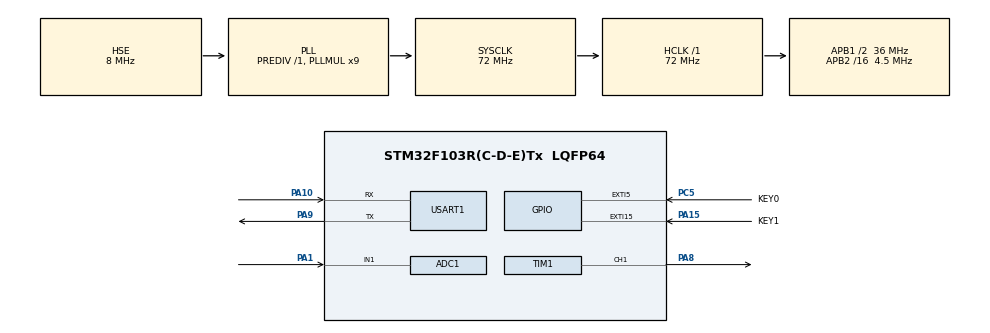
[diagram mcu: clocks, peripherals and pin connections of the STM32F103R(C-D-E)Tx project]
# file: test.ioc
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ADC1.Channel-0\#ChannelRegularConversion=ADC_CHANNEL_1
ADC1.NbrOfConversionFlag=1
ADC1.Rank-0\#ChannelRegularConversion=1
ADC1.SamplingTime-0\#ChannelRegularConversion=ADC_SAMPLETIME_1CYCLE_5
ADC1.master=1
Mcu.Family=STM32F1
Mcu.Name=STM32F103R(C-D-E)Tx
Mcu.Package=LQFP64
NVIC.EXTI9_5_IRQn=true\:1\:1\:true\:false\:true\:true\:true
NVIC.PriorityGroup=NVIC_PRIORITYGROUP_2
NVIC.TIM1_UP_IRQn=true\:0\:0\:false\:false\:true\:true\:true
NVIC.USART1_IRQn=true\:0\:0\:false\:false\:true\:true\:true
NVIC.WWDG_IRQn=true\:0\:0\:false\:false\:true\:true\:true
PA1.Signal=ADCx_IN1
PA10.Mode=Asynchronous
PA10.Signal=USART1_RX
PA13.Mode=Serial_Wire
PA13.Signal=SYS_JTMS-SWDIO
PA14.Mode=Serial_Wire
PA14.Signal=SYS_JTCK-SWCLK
PA15.GPIO_Label=KEY1
PA15.GPIO_PuPd=GPIO_PULLUP
PA15.Signal=GPXTI15
PA8.Signal=S_TIM1_CH1
PA9.Mode=Asynchronous
PA9.Signal=USART1_TX
PC5.GPIO_Label=KEY0
PC5.GPIO_ModeDefaultEXTI=GPIO_MODE_IT_FALLING
PC5.GPIO_PuPd=GPIO_PULLUP
PC5.Signal=GPXTI5
PD0-OSC_IN.Mode=HSE-External-Oscillator
PD0-OSC_IN.Signal=RCC_OSC_IN
PD1-OSC_OUT.Mode=HSE-External-Oscillator
PD1-OSC_OUT.Signal=RCC_OSC_OUT
ProjectManager.HeapSize=0x200
ProjectManager.StackSize=0x400
ProjectManager.TargetToolchain=SW4STM32
RCC.ADCPresc=RCC_ADCPCLK2_DIV6
RCC.AHBFreq_Value=72000000
RCC.APB1CLKDivider=RCC_HCLK_DIV2
RCC.APB1Freq_Value=36000000
RCC.APB1TimFreq_Value=72000000
RCC.APB2CLKDivider=RCC_HCLK_DIV16
RCC.APB2Freq_Value=4500000
RCC.APB2TimFreq_Value=9000000
RCC.HCLKFreq_Value=72000000
RCC.PLLMUL=RCC_PLL_MUL9
RCC.PLLSourceVirtual=RCC_PLLSOURCE_HSE
RCC.SYSCLKFreq_VALUE=72000000
RCC.SYSCLKSource=RCC_SYSCLKSOURCE_PLLCLK
RCC.USBFreq_Value=72000000
SH.ADCx_IN1.0=ADC1_IN1,IN1
SH.S_TIM1_CH1.0=TIM1_CH1,PWM Generation1 CH1
TIM1.Channel-PWM\ Generation1\ CH1=TIM_CHANNEL_1
TIM1.OC1Preload_PWM=ENABLE
TIM1.OCPolarity_1=TIM_OCPOLARITY_LOW
TIM1.Period=899
USART1.VirtualMode=VM_ASYNC
VP_WWDG_VS_WWDG.Mode=WWDG_Activate
WWDG.Counter=127
WWDG.EWIMode=WWDG_EWI_ENABLE
WWDG.Prescaler=WWDG_PRESCALER_8
WWDG.Window=95
board=custom

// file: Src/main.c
/* USER CODE BEGIN Header */
/**
  ******************************************************************************
  * @file           : main.c
  * @brief          : Main program body
  ******************************************************************************
  * @attention
  *
  * <h2><center>&copy; Copyright (c) 2019 STMicroelectronics.
  * All rights reserved.</center></h2>
  *
  * This software component is licensed by ST under BSD 3-Clause license,
  * the "License"; You may not use this file except in compliance with the
  * License. You may obtain a copy of the License at:
  *                        opensource.org/licenses/BSD-3-Clause
  *
  ******************************************************************************
  */
/* USER CODE END Header */

#include "main.h"
#include "adc.h"
#include "tim.h"
#include "usart.h"
#include "wwdg.h"
#include "gpio.h"
#include "string.h"
#include "stdio.h"

void SystemClock_Config(void);

/* USER CODE BEGIN 0 */

int flag = 0;

void HAL_WWDG_EarlyWakeupCallback(WWDG_HandleTypeDef *hwwdg) {
    char res[50];
    if (flag == 1) {
        HAL_WWDG_Refresh(hwwdg);
        sprintf(res, "Refresh!!\r\n");
        HAL_UART_Transmit(&huart1, (uint8_t *)res, strlen(res), HAL_MAX_DELAY);
    }
    flag = 0;
}
void HAL_GPIO_EXTI_Callback(uint16_t GPIO_Pin) {
    if (GPIO_Pin != KEY0_Pin)
        return;

    if (HAL_GPIO_ReadPin(KEY0_GPIO_Port, KEY0_Pin) == GPIO_PIN_RESET) {
        flag = 1;
    }
}
/* USER CODE END 0 */

int main(void) {
    /* USER CODE BEGIN 1 */
    uint16_t raw;
    char msg[20];
    /* USER CODE END 1 */

    /* MCU Configuration--------------------------------------------------------*/

    /* Reset of all peripherals, Initializes the Flash interface and the Systick. */
    HAL_Init();

    /* Configure the system clock */
    SystemClock_Config();

    /* Initialize all configured peripherals */
    MX_GPIO_Init();
    MX_USART1_UART_Init();
    MX_ADC1_Init();
    MX_TIM1_Init();
    MX_WWDG_Init();

    /* Infinite loop */
    /* USER CODE BEGIN WHILE */

    int i = 0;
    while (1) {
        HAL_ADC_Start(&hadc1);
// Wait for regular group conversion to be completed
        HAL_ADC_PollForConversion(&hadc1, HAL_MAX_DELAY);
// Get ADC value
        raw = HAL_ADC_GetValue(&hadc1); // the voltage should be raw * (3.3/4096)(12
// Convert to string and print
        float value = (1.43 - raw * (3.3 / 4096)) / 4.3 + 25;

        int tmp, tmp1, tmp2, tmp3, tmp4, tmp5, tmp6;
        tmp = (int) value;
        tmp1 = (int) ((value - tmp) * 10) % 10;
        tmp2 = (int) ((value - tmp) * 100) % 10;
        tmp3 = (int) ((value - tmp) * 1000) % 10;
        tmp4 = (int) ((value - tmp) * 10000) % 10;
        tmp5 = (int) ((value - tmp) * 100000) % 10;
        tmp6 = (int) ((value - tmp) * 1000000) % 10;
        i ++;
        sprintf(msg, "%d %d.%d%d%d%d%d%d\r\n", i, tmp, tmp1, tmp2, tmp3, tmp4, tmp5, tmp6);
//        sprintf(msg, "%d\r\n", i);
        HAL_UART_Transmit(&huart1, (uint8_t *) msg, strlen(msg), HAL_MAX_DELAY);
        HAL_Delay(2);
    }
    /* USER CODE END 3 */
}

void SystemClock_Config(void) {
    RCC_OscInitTypeDef RCC_OscInitStruct = {0};
    RCC_ClkInitTypeDef RCC_ClkInitStruct = {0};
    RCC_PeriphCLKInitTypeDef PeriphClkInit = {0};

    /** Initializes the CPU, AHB and APB busses clocks
    */
    RCC_OscInitStruct.OscillatorType = RCC_OSCILLATORTYPE_HSE;
    RCC_OscInitStruct.HSEState = RCC_HSE_ON;
    RCC_OscInitStruct.HSEPredivValue = RCC_HSE_PREDIV_DIV1;
    RCC_OscInitStruct.HSIState = RCC_HSI_ON;
    RCC_OscInitStruct.PLL.PLLState = RCC_PLL_ON;
    RCC_OscInitStruct.PLL.PLLSource = RCC_PLLSOURCE_HSE;
    RCC_OscInitStruct.PLL.PLLMUL = RCC_PLL_MUL9;
    if (HAL_RCC_OscConfig(&RCC_OscInitStruct) != HAL_OK) {
        Error_Handler();
    }
    /** Initializes the CPU, AHB and APB busses clocks
    */
    RCC_ClkInitStruct.ClockType = RCC_CLOCKTYPE_HCLK | RCC_CLOCKTYPE_SYSCLK
                                  | RCC_CLOCKTYPE_PCLK1 | RCC_CLOCKTYPE_PCLK2;
    RCC_ClkInitStruct.SYSCLKSource = RCC_SYSCLKSOURCE_PLLCLK;
    RCC_ClkInitStruct.AHBCLKDivider = RCC_SYSCLK_DIV1;
    RCC_ClkInitStruct.APB1CLKDivider = RCC_HCLK_DIV2;
    RCC_ClkInitStruct.APB2CLKDivider = RCC_HCLK_DIV16;

    if (HAL_RCC_ClockConfig(&RCC_ClkInitStruct, FLASH_LATENCY_2) != HAL_OK) {
        Error_Handler();
    }
    PeriphClkInit.PeriphClockSelection = RCC_PERIPHCLK_ADC;
    PeriphClkInit.AdcClockSelection = RCC_ADCPCLK2_DIV6;
    if (HAL_RCCEx_PeriphCLKConfig(&PeriphClkInit) != HAL_OK) {
        Error_Handler();
    }
}

void Error_Handler(void) {
}

/************************ (C) COPYRIGHT STMicroelectronics *****END OF FILE****/
